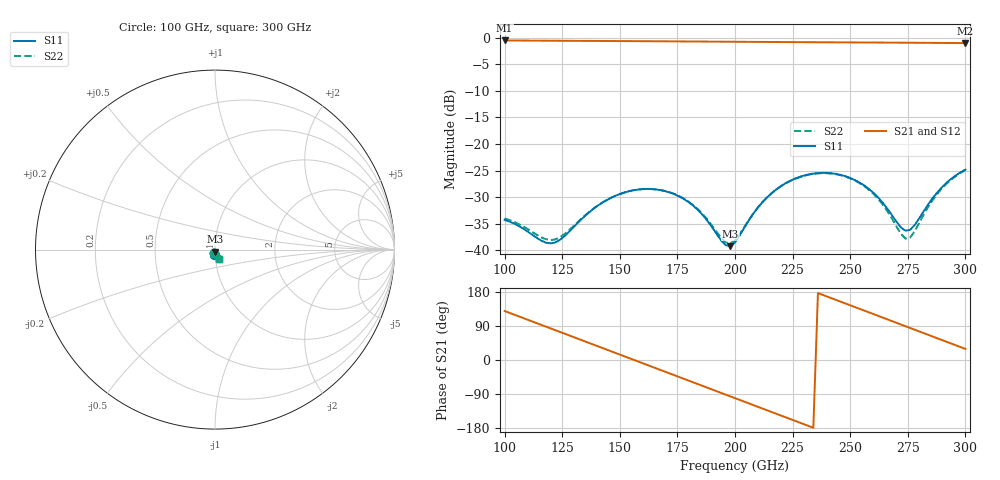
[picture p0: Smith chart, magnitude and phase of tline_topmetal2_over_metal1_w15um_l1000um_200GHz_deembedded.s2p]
! Created with skrf 2.2.0 (http://scikit-rf.org).
# GHz S DB R 50.0
! Port[1] = P1
! Port[2] = P2
!freq dBS11 angS11 dBS21 angS21 dBS12 angS12 dBS22 angS22
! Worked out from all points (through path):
!   101 points, 100 GHz to 300 GHz, reference 50 ohm
!   highest |S21| = -0.53 dB at 100 GHz (marker M1); lowest = -1.0 dB at 300 GHz (marker M2)
!   group delay of S21, straight-line fit = 6.39 ps
!   lowest |S11| = -39.2 dB at 198 GHz (marker M3), VSWR 1.02, Z = 50.1 - j1.1 ohm
!   |S11| at or under -10 dB: start of sweep to end of sweep
!   |S22| runs from -38.7 to -24.9 dB; largest |S21 - S12| = 1.1e-14
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100  -34.25 -105.2  -0.53 129.3  -0.53 129.3  -33.99 -103.0
110  -36.45 -108.3  -0.56 106.3  -0.56 106.3  -35.98 -106.4
120  -38.68 -87.2  -0.58 83.3  -0.58 83.3  -38.04 -88.1
134  -33.88 -61.0  -0.61 51.1  -0.61 51.1  -33.77 -62.8
144  -30.61 -68.8  -0.63 28.1  -0.63 28.1  -30.59 -69.8
152  -29.11 -80.2  -0.65 9.7  -0.65 9.7  -29.10 -80.7
160  -28.47 -93.1  -0.67 -8.7  -0.67 -8.7  -28.46 -93.3
168  -28.70 -106.3  -0.69 -27.1  -0.69 -27.1  -28.67 -106.2
184  -32.44 -126.7  -0.73 -63.9  -0.73 -63.9  -32.30 -125.9
198  -39.20 -86.1  -0.77 -96.1  -0.77 -96.1  -38.69 -87.8
200  -38.49 -72.5  -0.77 -100.7  -0.77 -100.7  -38.10 -75.1
216  -29.19 -56.9  -0.82 -137.5  -0.82 -137.5  -29.22 -58.6
226  -26.51 -71.9  -0.85 -160.4  -0.85 -160.4  -26.55 -73.3
234  -25.56 -85.8  -0.87 -178.8  -0.87 -178.8  -25.61 -87.1
242  -25.50 -100.0  -0.88 162.8  -0.88 162.8  -25.56 -101.4
250  -26.37 -113.3  -0.90 144.4  -0.90 144.4  -26.46 -115.1
260  -29.14 -125.7  -0.92 121.4  -0.92 121.4  -29.33 -128.5
268  -33.30 -122.9  -0.94 103.0  -0.94 103.0  -33.92 -127.2
272  -35.67 -108.1  -0.95 93.7  -0.95 93.7  -36.88 -111.4
276  -36.13 -81.7  -0.96 84.5  -0.96 84.5  -37.59 -79.1
288  -28.99 -54.0  -0.99 56.9  -0.99 56.9  -29.25 -49.4
300  -24.81 -68.1  -1.03 29.3  -1.03 29.3  -24.88 -64.7
